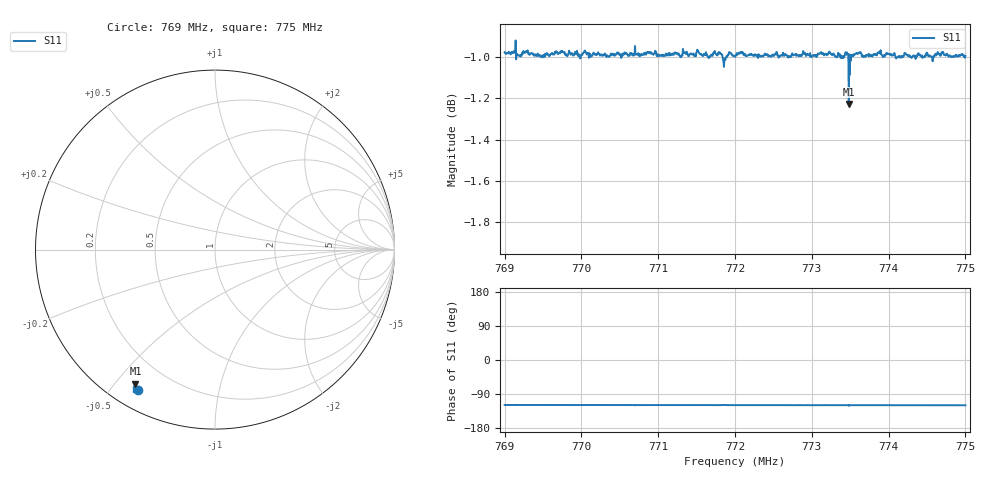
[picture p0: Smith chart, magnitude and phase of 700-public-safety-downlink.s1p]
! Calibrated averaged scanner-service zoom
# Hz S RI R 50
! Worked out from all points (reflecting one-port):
!   1001 points, 769 MHz to 775 MHz, reference 50 ohm
!   lowest |S11| = -1.2 dB at 773.482 MHz (marker M1), VSWR 14.19, Z = 4.66 - j28.3 ohm
!   phase of S11 starts at -119 deg and turns -1 deg over the sweep
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7.69e8  -0.4283 -0.7845
7.69114e8  -0.4289 -0.7838
7.6918e8  -0.4284 -0.7826
7.69276e8  -0.4285 -0.7849
7.69492e8  -0.4276 -0.7826
7.6975e8  -0.4296 -0.7845
7.69966e8  -0.4303 -0.7811
7.705e8  -0.4304 -0.7817
7.70722e8  -0.4314 -0.7816
7.70782e8  -0.4309 -0.7813
7.7125e8  -0.432 -0.782
7.71724e8  -0.4342 -0.7812
7.71802e8  -0.4335 -0.7816
7.71856e8  -0.4268 -0.777
7.7191e8  -0.4334 -0.7803
7.72e8  -0.4334 -0.7795
7.7275e8  -0.4346 -0.7798
7.73446e8  -0.4363 -0.7793
7.73452e8  -0.4356 -0.7791
7.73482e8  -0.4433 -0.7467
7.735e8  -0.4361 -0.7787
7.7353e8  -0.4357 -0.7785
7.73602e8  -0.4376 -0.7785
7.7368e8  -0.4359 -0.7781
7.73884e8  -0.4364 -0.7799
7.7413e8  -0.4378 -0.7768
7.7425e8  -0.4369 -0.7778
7.75e8  -0.4388 -0.7765
